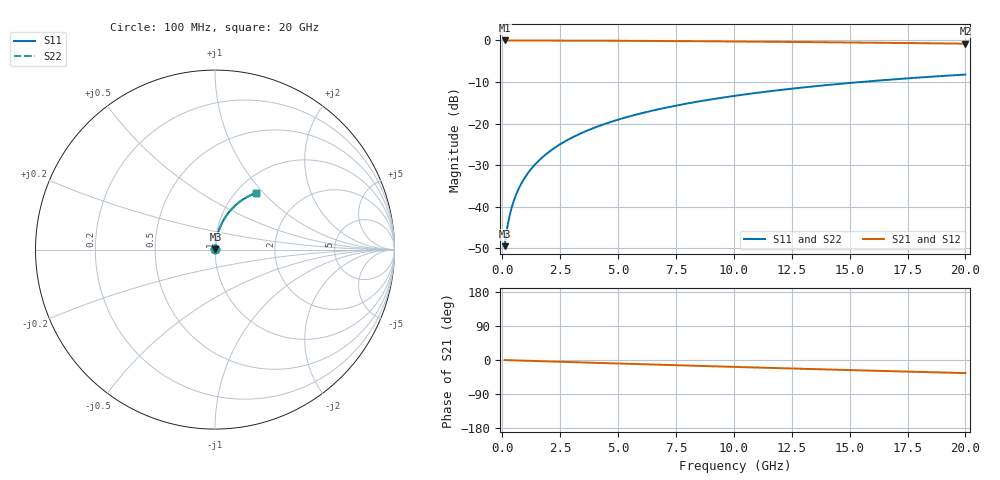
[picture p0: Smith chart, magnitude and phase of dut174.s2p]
! Touchstone file exported from HFSS 2026.1.0
!  File:  C:/ffzhzh/LocalFiles/Ansys_Project_Files/temp_train_BSMRDL_174_1782987066_45328.aedt
!  Generated:  06:12:29 PM Jul  2, 2026
!  Design:  BSMRDL
!  Project:  temp_train_BSMRDL_174_1782987066_45328
! Variables:
!  h_bsmrdl = 3.61um
!  h_ox = 20um
!  h_rdl = 5um
!  h_sub = 80um
!  h_tmrdl = 5um
!  h_tsv = 80um
!  h_via = 3um
!  l_bsmrdl = 428.13um
!  l_sub = 828.13um
!  l_tmrdl = 200um
!  m_sub = 200um
!  pitch = 58.98um
!  r_tsv = 6um
!  s_tmrdl = 10um
!  w_bsmrdl = 19.13um
!  w_sub = 500um
!  w_tmrdl = 12um
!  x_tsv_center1 = 206um
!  x_tsv_center2 = 653.26um
!  x_tsv_center3 = 865.26um
!  x_tsv_center4 = 1312.52um
!  x_tsv_center5 = 1524.52um
!  x_tsv_center6 = 1971.78um
# GHz S MA R 50.000000
! Terminal data exported
! Port[1] = BSM_RDL1_1_T1
! Port[2] = BSM_RDL1_1_T2
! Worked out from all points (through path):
!   200 points, 100 MHz to 20 GHz, reference 50 ohm
!   highest |S21| = -0.02 dB at 100 MHz (marker M1); lowest = -0.8 dB at 20 GHz (marker M2)
!   group delay of S21, straight-line fit = 4.81 ps
!   lowest |S11| = -49.5 dB at 100 MHz (marker M3), VSWR 1.01, Z = 50.2 + j0.239 ohm
!   |S11| at or under -10 dB: start of sweep to 15.5 GHz
!   |S22| runs from -49.5 to -8.2 dB; largest |S21 - S12| = 3.9e-15
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0.1  0.003361 45.0  0.9976 -0.2  0.9976 -0.2  0.003361 45.0
! Gamma 0 0 0 0
! Port Impedance 50 0 50 0
0.2  0.00533 62.3  0.9975 -0.4  0.9975 -0.4  0.00533 62.3
0.3  0.007485 69.7  0.9974 -0.6  0.9974 -0.6  0.007485 69.7
0.4  0.009679 73.6  0.9973 -0.8  0.9973 -0.8  0.009679 73.6
0.5  0.01188 76.0  0.9973 -1.0  0.9973 -1.0  0.01188 76.0
0.7  0.01631 78.9  0.9971 -1.3  0.9971 -1.3  0.01631 78.9
0.8  0.01852 79.8  0.997 -1.5  0.997 -1.5  0.01853 79.8
1  0.02298 80.9  0.9969 -1.9  0.9969 -1.9  0.02298 80.9
1.2  0.02744 81.6  0.9967 -2.3  0.9967 -2.3  0.02744 81.6
1.4  0.03191 82.0  0.9965 -2.6  0.9965 -2.6  0.03191 82.0
1.7  0.03862 82.3  0.9962 -3.2  0.9962 -3.2  0.03862 82.3
2  0.04532 82.3  0.9959 -3.7  0.9959 -3.7  0.04532 82.3
2.7  0.06093 81.8  0.9948 -5.0  0.9948 -5.0  0.06093 81.8
3.5  0.07865 80.8  0.9933 -6.5  0.9933 -6.5  0.07865 80.8
4.2  0.09402 79.8  0.9917 -7.8  0.9917 -7.8  0.09402 79.8
5  0.1114 78.6  0.9895 -9.3  0.9895 -9.3  0.1114 78.5
6.8  0.1497 75.6  0.9837 -12.5  0.9837 -12.5  0.1497 75.5
8.3  0.1807 73.0  0.9779 -15.2  0.9779 -15.2  0.1807 73.0
10.1  0.2168 70.0  0.9699 -18.3  0.9699 -18.3  0.2168 70.0
13.4  0.2792 64.5  0.953 -24.0  0.953 -24.0  0.2792 64.5
16.7  0.3365 59.3  0.9337 -29.4  0.9337 -29.4  0.3365 59.3
20  0.3885 54.2  0.9131 -34.6  0.9131 -34.6  0.3885 54.2
